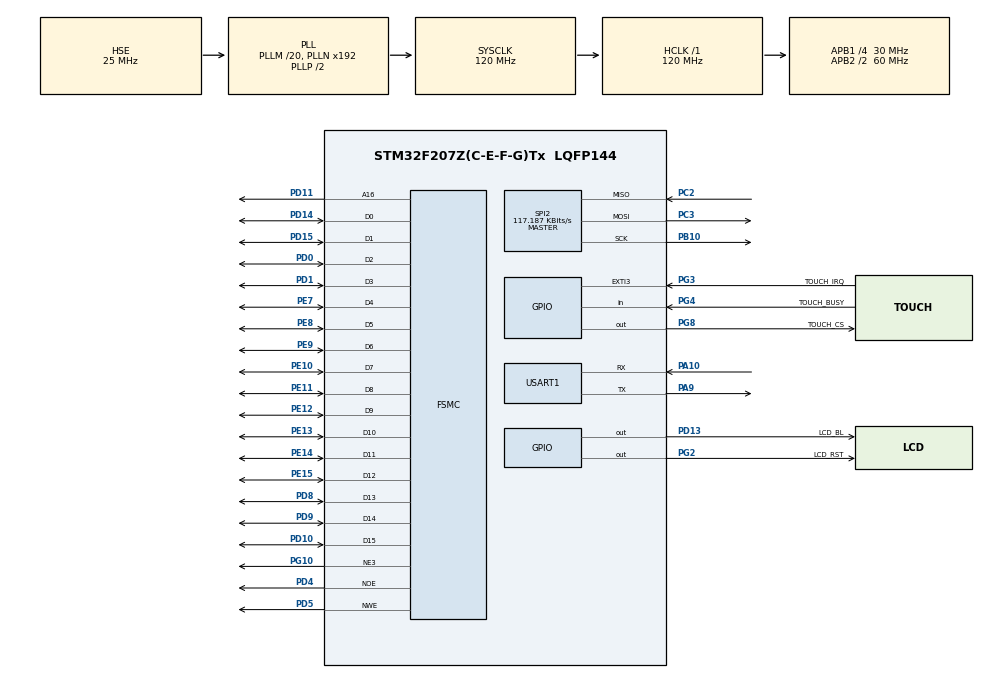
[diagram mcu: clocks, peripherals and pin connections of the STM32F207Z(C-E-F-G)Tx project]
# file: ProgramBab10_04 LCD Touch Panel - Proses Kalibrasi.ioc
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FSMC.AddressSetupTime1=5
FSMC.BusTurnAroundDuration1=5
FSMC.DataSetupTime1=5
Mcu.Family=STM32F2
Mcu.Name=STM32F207Z(C-E-F-G)Tx
Mcu.Package=LQFP144
NVIC.EXTI3_IRQn=true\:0\:0\:false\:false\:true\:true\:true
NVIC.PriorityGroup=NVIC_PRIORITYGROUP_4
PA10.Mode=Asynchronous
PA10.Signal=USART1_RX
PA9.Mode=Asynchronous
PA9.Signal=USART1_TX
PB10.Mode=Full_Duplex_Master
PB10.Signal=SPI2_SCK
PC2.Mode=Full_Duplex_Master
PC2.Signal=SPI2_MISO
PC3.Mode=Full_Duplex_Master
PC3.Signal=SPI2_MOSI
PD0.Signal=FSMC_D2_DA2
PD1.Signal=FSMC_D3_DA3
PD10.Signal=FSMC_D15_DA15
PD11.Signal=FSMC_A16_CLE
PD13.GPIO_Label=LCD_BL
PD13.Signal=GPIO_Output
PD14.Signal=FSMC_D0_DA0
PD15.Signal=FSMC_D1_DA1
PD4.Signal=FSMC_NOE
PD5.Signal=FSMC_NWE
PD8.Signal=FSMC_D13_DA13
PD9.Signal=FSMC_D14_DA14
PE10.Signal=FSMC_D7_DA7
PE11.Signal=FSMC_D8_DA8
PE12.Signal=FSMC_D9_DA9
PE13.Signal=FSMC_D10_DA10
PE14.Signal=FSMC_D11_DA11
PE15.Signal=FSMC_D12_DA12
PE7.Signal=FSMC_D4_DA4
PE8.Signal=FSMC_D5_DA5
PE9.Signal=FSMC_D6_DA6
PG10.Mode=NorPsramChipSelect3_1
PG10.Signal=FSMC_NE3
PG2.GPIO_Label=LCD_RST
PG2.Signal=GPIO_Output
PG3.GPIO_Label=TOUCH_IRQ
PG3.Signal=GPXTI3
PG4.GPIO_Label=TOUCH_BUSY
PG4.Signal=GPIO_Input
PG8.GPIO_Label=TOUCH_CS
PG8.Signal=GPIO_Output
PH0-OSC_IN.Mode=HSE-External-Oscillator
PH0-OSC_IN.Signal=RCC_OSC_IN
PH1-OSC_OUT.Mode=HSE-External-Oscillator
PH1-OSC_OUT.Signal=RCC_OSC_OUT
ProjectManager.HeapSize=0x200
ProjectManager.StackSize=0x400
ProjectManager.TargetToolchain=STM32CubeIDE
RCC.48MHZClocksFreq_Value=60000000
RCC.AHBFreq_Value=120000000
RCC.APB1CLKDivider=RCC_HCLK_DIV4
RCC.APB1Freq_Value=30000000
RCC.APB1TimFreq_Value=60000000
RCC.APB2CLKDivider=RCC_HCLK_DIV2
RCC.APB2Freq_Value=60000000
RCC.APB2TimFreq_Value=120000000
RCC.CortexFreq_Value=120000000
RCC.HCLKFreq_Value=120000000
RCC.HSE_VALUE=25000000
RCC.HSI_VALUE=16000000
RCC.LSE_VALUE=32768
RCC.PLLM=20
RCC.PLLSourceVirtual=RCC_PLLSOURCE_HSE
RCC.SYSCLKFreq_VALUE=120000000
RCC.SYSCLKSource=RCC_SYSCLKSOURCE_PLLCLK
RCC.VCOOutputFreq_Value=240000000
SH.FSMC_A16_CLE.0=FSMC_A16,A16_1
SH.FSMC_D0_DA0.0=FSMC_D0,16b-d1
SH.FSMC_D10_DA10.0=FSMC_D10,16b-d1
SH.FSMC_D11_DA11.0=FSMC_D11,16b-d1
SH.FSMC_D12_DA12.0=FSMC_D12,16b-d1
SH.FSMC_D13_DA13.0=FSMC_D13,16b-d1
SH.FSMC_D14_DA14.0=FSMC_D14,16b-d1
SH.FSMC_D15_DA15.0=FSMC_D15,16b-d1
SH.FSMC_D1_DA1.0=FSMC_D1,16b-d1
SH.FSMC_D2_DA2.0=FSMC_D2,16b-d1
SH.FSMC_D3_DA3.0=FSMC_D3,16b-d1
SH.FSMC_D4_DA4.0=FSMC_D4,16b-d1
SH.FSMC_D5_DA5.0=FSMC_D5,16b-d1
SH.FSMC_D6_DA6.0=FSMC_D6,16b-d1
SH.FSMC_D7_DA7.0=FSMC_D7,16b-d1
SH.FSMC_D8_DA8.0=FSMC_D8,16b-d1
SH.FSMC_D9_DA9.0=FSMC_D9,16b-d1
SH.FSMC_NOE.0=FSMC_NOE,Lcd1
SH.FSMC_NWE.0=FSMC_NWE,Lcd1
SPI2.BaudRatePrescaler=SPI_BAUDRATEPRESCALER_256
SPI2.CalculateBaudRate=117.187 KBits/s
SPI2.Direction=SPI_DIRECTION_2LINES
SPI2.Mode=SPI_MODE_MASTER
SPI2.VirtualType=VM_MASTER
USART1.VirtualMode=VM_ASYNC
board=custom

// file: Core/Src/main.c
/* USER CODE BEGIN Header */
/**
  ******************************************************************************
  * @file           : main.c
  * @brief          : Main program body
  ******************************************************************************
  * @attention
  *
  * <h2><center>&copy; Copyright (c) 2019 STMicroelectronics.
  * All rights reserved.</center></h2>
  *
  * This software component is licensed by ST under BSD 3-Clause license,
  * the "License"; You may not use this file except in compliance with the
  * License. You may obtain a copy of the License at:
  *                        opensource.org/licenses/BSD-3-Clause
  *
  ******************************************************************************
  */
/* USER CODE END Header */
#include "main.h"
#include "spi.h"
#include "usart.h"
#include "gpio.h"
#include "fsmc.h"

/* USER CODE BEGIN Includes */
#include "global.h"
/* USER CODE END Includes */

/* USER CODE BEGIN PV */
Coordinate touch;
uint8_t touchirq=0;
/* USER CODE END PV */

void SystemClock_Config(void);

int main(void)
{

  /* MCU Configuration--------------------------------------------------------*/

  /* Reset of all peripherals, Initializes the Flash interface and the Systick. */
  HAL_Init();

  /* Configure the system clock */
  SystemClock_Config();

  /* Initialize all configured peripherals */
  MX_GPIO_Init();
  MX_FSMC_Init();
  MX_SPI2_Init();
  MX_USART1_UART_Init();
  /* USER CODE BEGIN 2 */
  if (BSP_LCD_Init()!=LCD_OK){
	 printf("LCD Error\r\n");
	 for(;;);
  }

  touch_calibration();

  BSP_LCD_SetTextColor(LCD_COLOR_RED);
  BSP_LCD_Clear(LCD_COLOR_WHITE);
  /* USER CODE END 2 */

  /* Infinite loop */
  while (1)
  {

    /* USER CODE BEGIN 3 */
	  if(touchirq){
	  touch_readPosition(&touch);
	  if(touch.status==TOUCH_PRESSED){
		  BSP_LCD_FillCircle(touch.x, touch.y, 2);
	  }
	  touchirq=0;
	  }
  }
  /* USER CODE END 3 */
}

void SystemClock_Config(void)
{
  RCC_OscInitTypeDef RCC_OscInitStruct = {0};
  RCC_ClkInitTypeDef RCC_ClkInitStruct = {0};

  /** Initializes the RCC Oscillators according to the specified parameters
  * in the RCC_OscInitTypeDef structure.
  */
  RCC_OscInitStruct.OscillatorType = RCC_OSCILLATORTYPE_HSE;
  RCC_OscInitStruct.HSEState = RCC_HSE_ON;
  RCC_OscInitStruct.PLL.PLLState = RCC_PLL_ON;
  RCC_OscInitStruct.PLL.PLLSource = RCC_PLLSOURCE_HSE;
  RCC_OscInitStruct.PLL.PLLM = 20;
  RCC_OscInitStruct.PLL.PLLN = 192;
  RCC_OscInitStruct.PLL.PLLP = RCC_PLLP_DIV2;
  RCC_OscInitStruct.PLL.PLLQ = 4;
  if (HAL_RCC_OscConfig(&RCC_OscInitStruct) != HAL_OK)
  {
    Error_Handler();
  }
  /** Initializes the CPU, AHB and APB buses clocks
  */
  RCC_ClkInitStruct.ClockType = RCC_CLOCKTYPE_HCLK|RCC_CLOCKTYPE_SYSCLK
                              |RCC_CLOCKTYPE_PCLK1|RCC_CLOCKTYPE_PCLK2;
  RCC_ClkInitStruct.SYSCLKSource = RCC_SYSCLKSOURCE_PLLCLK;
  RCC_ClkInitStruct.AHBCLKDivider = RCC_SYSCLK_DIV1;
  RCC_ClkInitStruct.APB1CLKDivider = RCC_HCLK_DIV4;
  RCC_ClkInitStruct.APB2CLKDivider = RCC_HCLK_DIV2;

  if (HAL_RCC_ClockConfig(&RCC_ClkInitStruct, FLASH_LATENCY_3) != HAL_OK)
  {
    Error_Handler();
  }
}

/* USER CODE BEGIN 4 */
void HAL_GPIO_EXTI_Callback(uint16_t GPIO_Pin){
	touchirq=1;
}
/* USER CODE END 4 */

void Error_Handler(void)
{
}

/************************ (C) COPYRIGHT STMicroelectronics *****END OF FILE****/
